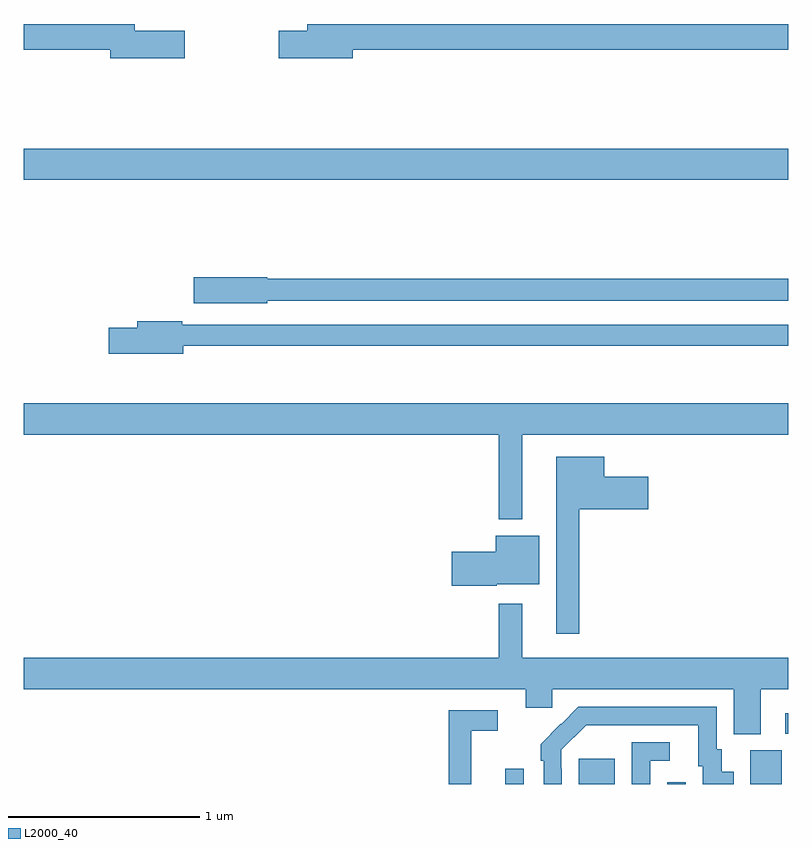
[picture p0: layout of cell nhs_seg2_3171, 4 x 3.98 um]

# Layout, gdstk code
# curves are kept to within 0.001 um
import gdstk
lib = gdstk.Library(unit=1e-6, precision=1e-09)
def R(c, l, rs):  # rectangles x0, y0, x1, y1
    for r in rs: c.add(gdstk.rectangle(r[:2], r[2:], *l))
def P(c, l, *ps):  # polygons
    for p in ps: c.add(gdstk.Polygon(p, *l))
L2000_40 = (2000, 40)

nhs_seg2_3171 = lib.new_cell('nhs_seg2_3171')
R(nhs_seg2_3171, L2000_40, [(279.519,653.8,279.615,653.881), (279.905,653.8,280.093,653.932), (280.368,653.8,280.464,653.809), (280.802,653.8,280.966,653.976), (280.983,654.063,281,654.169), (277,656.96,281,657.124)])
P(nhs_seg2_3171, L2000_40, [(277.843,657.74),(277.582,657.74),(277.582,657.776),(277,657.776),(277,657.64),(277.454,657.64),(277.454,657.598),(277.843,657.598)],
  [(278.722,657.64),(281,657.64),(281,657.776),(278.483,657.776),(278.483,657.74),(278.334,657.74),(278.334,657.598),(278.722,657.598)],
  [(278.274,656.328),(281,656.328),(281,656.444),(278.274,656.444),(278.274,656.45),(277.89,656.45),(277.89,656.315),(278.274,656.315)],
  [(277.834,656.094),(281,656.094),(281,656.202),(277.83,656.202),(277.83,656.222),(277.595,656.222),(277.595,656.186),(277.446,656.186),(277.446,656.051),(277.834,656.051)],
  [(279.607,655.628),(281,655.628),(281,655.792),(277,655.792),(277,655.628),(279.486,655.628),(279.486,655.184),(279.607,655.184)],
  [(279.907,655.238),(280.267,655.238),(280.267,655.408),(280.036,655.408),(280.036,655.513),(279.785,655.513),(279.785,654.585),(279.907,654.585)],
  [(279.474,654.845),(279.697,654.845),(279.697,655.099),(279.47,655.099),(279.47,655.016),(279.24,655.016),(279.24,654.838),(279.474,654.838)],
  [(280.855,654.296),(281,654.296),(281,654.46),(279.607,654.46),(279.607,654.742),(279.486,654.742),(279.486,654.46),(277,654.46),(277,654.296),(279.626,654.296),(279.626,654.198),(279.765,654.198),(279.765,654.296),(280.715,654.296),(280.715,654.061),(280.855,654.061)],
  [(279.816,653.879),(279.813,653.879),(279.813,653.979),(279.942,654.108),(280.529,654.108),(280.529,653.892),(280.553,653.892),(280.553,653.8),(280.714,653.8),(280.714,653.863),(280.651,653.863),(280.651,653.982),(280.626,653.982),(280.626,654.204),(279.902,654.204),(279.705,654.009),(279.705,653.921),(279.72,653.921),(279.72,653.8),(279.816,653.8)],
  [(279.341,654.078),(279.481,654.078),(279.481,654.186),(279.223,654.186),(279.223,653.8),(279.341,653.8)],
  [(280.278,653.922),(280.381,653.922),(280.381,654.018),(280.182,654.018),(280.182,653.8),(280.278,653.8)])

lib.write_gds('nhs_seg2_3171.gds')
